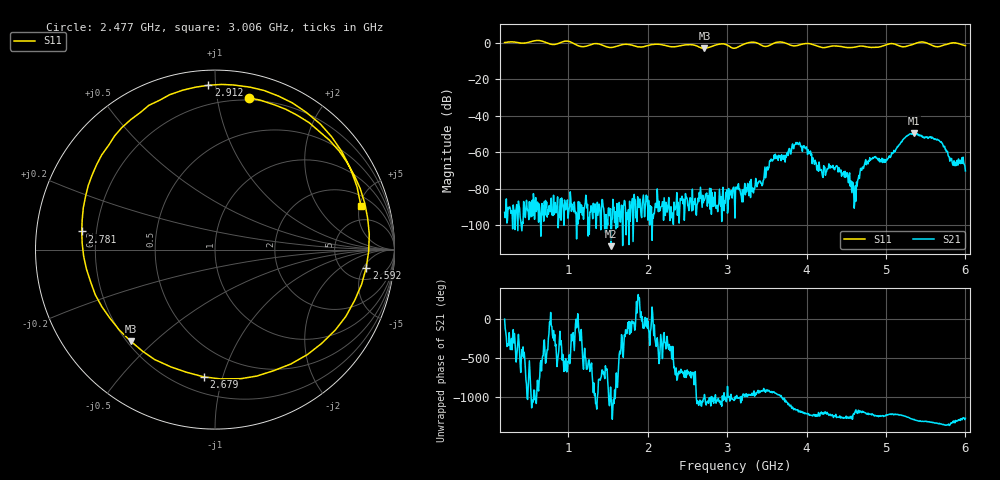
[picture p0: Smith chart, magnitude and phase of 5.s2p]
! NanoVNA-App by OneOfEleven et al v1.1.209 (+OD15)
! Date: 2024-07-30 15:09:48
! Start: 200MHz Stop: 6GHz Points: 801
! S-Parameter data: F S11 S21 S12 S22
# Hz S RI R 50
!  Frequency  S11_Real  S11_Imag  S21_Real  S21_Imag  S12_Real  S12_Imag  S22_Real  S22_Imag
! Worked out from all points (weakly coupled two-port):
!   801 points, 200 MHz to 6 GHz, reference 50 ohm
!   highest |S21| = -49.71 dB at 5.355 GHz (marker M1); lowest = -111.6 dB at 1.541 GHz (marker M2)
!   lowest |S11| = -3.2 dB at 2.716 GHz (marker M3), VSWR 5.52, Z = 10.7 - j21.1 ohm
!   |S11| at or under -10 dB: nowhere
!   S12 and S22 are empty: the file has one direction only
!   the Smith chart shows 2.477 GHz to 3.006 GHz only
!   S11 on the Smith chart (normalised r, x): 2.477 GHz: 0.18, +1.23; 2.592 GHz: 8.02, -5.76; 2.679 GHz: 0.30, -0.87; 2.781 GHz: 0.14, +0.07; 2.912 GHz: 0.08, +0.96; 3.006 GHz: 2.95, +5.16
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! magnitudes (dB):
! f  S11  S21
! 200 MHz  0.1  -93.1
! 1.171 GHz  -2.2  -89.4
! 1.541 GHz  -2.7  -111.6
! 2.136 GHz  -0.9  -92.6
! 2.477 GHz  -1.2  -82.8
! 2.592 GHz  -1.4  -88.7
! 2.679 GHz  -3.0  -86.4
! 2.716 GHz  -3.2  -86.2
! 2.781 GHz  -2.5  -79.9
! 2.912 GHz  -0.8  -85.4
! 3.006 GHz  -1.4  -93.5
! 3.1 GHz  -3.0  -96.2
! 3.433 GHz  -1.4  -77.2
! 3.564 GHz  -0.9  -64.9
! 3.883 GHz  -1.6  -54.8
! 4.072 GHz  -0.9  -66.3
! 4.593 GHz  -2.6  -81.8
! 4.768 GHz  -2.4  -65.2
! 5.036 GHz  -0.7  -62.6
! 5.355 GHz  -0.7  -49.7
! 5.674 GHz  -2.1  -53.8
! 6 GHz  -1.7  -70.3
